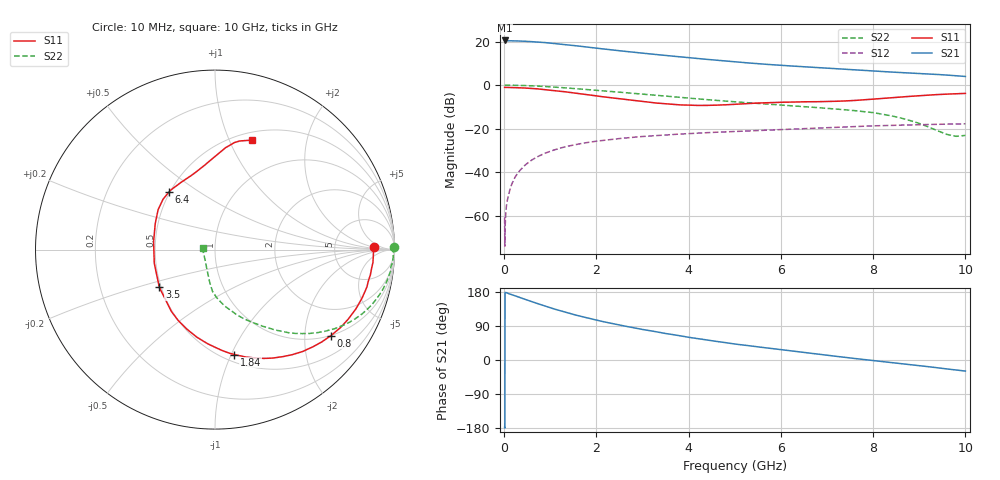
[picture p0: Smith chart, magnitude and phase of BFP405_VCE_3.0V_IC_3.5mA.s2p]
! Infineon Technologies  Discrete & RF Semiconductors
! BFP405
! VCE =  3.0 V,  IC =  3.5 mA
! Common Emitter S-Parameters:  Jan 2016
# GHz  S  MA  R  50
!  f  S11  S21  S12  S22
! GHz  MAG  ANG  MAG  ANG  MAG  ANG  MAG  ANG
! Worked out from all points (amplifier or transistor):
!   233 points, 10 MHz to 10 GHz, reference 50 ohm
!   highest |S21| = 20.5 dB at 10 MHz (marker M1)
!   |S21| within 3 dB of that: start of sweep to 1.781 GHz
!   unconditionally stable (mu >= 1): 14.8 MHz to 15.37 MHz; 3.816 GHz to end of sweep
!   at 200 MHz: K = 0.06, MSG = 32.1 dB, |S12| = -43.9 dB
!   at 1.74 GHz: K = 0.44, MSG = 22.1 dB, |S12| = -26.6 dB
!   at 10 GHz: K = 1.52, MAG = 6.6 dB, |S12| = -17.8 dB
!   S11 on the Smith chart (normalised r, x): 10 MHz: 16, +2; 800 MHz: 1.00, -2.71; 1.84 GHz: 0.57, -1.03; 3.5 GHz: 0.49, -0.24; 6.4 GHz: 0.49, +0.38; 10 GHz: 0.58, +1.22
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0.01  0.8842 1.0  10.59 -177.8  0.0009 -75.6  0.9954 0.8
0.015  0.8838 0.2  10.53 -179.7  0.0002 -61.0  0.9932 0.4
0.02  0.8835 -0.7  10.48 178.4  0.0005 92.0  0.991 0.0
0.05  0.8824 -2.6  10.39 177.7  0.0017 83.4  0.9939 -0.8
0.155  0.8786 -7.0  10.39 173.1  0.005 85.4  0.9918 -3.4
0.5  0.8511 -23.0  10.11 158.2  0.0159 78.4  0.9713 -11.0
0.8  0.8047 -36.5  9.623 145.7  0.0248 72.0  0.9393 -17.3
1  0.7678 -45.0  9.216 137.8  0.0303 67.9  0.9127 -21.2
1.2  0.7271 -53.6  8.788 130.5  0.0353 64.0  0.8831 -24.9
1.4  0.685 -61.9  8.343 123.5  0.0399 60.3  0.852 -28.3
1.68  0.6266 -73.1  7.723 114.5  0.0457 55.8  0.8079 -32.6
1.84  0.5945 -79.5  7.373 109.7  0.0486 53.4  0.7832 -34.8
2.2  0.5298 -93.7  6.671 99.8  0.0547 48.7  0.7298 -39.4
2.6  0.4702 -109.4  5.987 89.8  0.0606 44.1  0.6737 -44.0
3.4  0.3798 -141.4  4.909 72.2  0.0707 36.2  0.5701 -52.2
3.5  0.3747 -145.9  4.801 69.9  0.0719 35.3  0.5578 -53.3
4.1  0.343 -171.3  4.169 58.2  0.0779 30.3  0.4918 -59.1
5.1  0.3666 154.1  3.351 40.8  0.0869 23.2  0.4061 -68.6
6.4  0.4105 128.8  2.675 21.5  0.0989 15.8  0.3262 -79.0
6.8  0.4156 120.8  2.514 15.6  0.103 13.4  0.3035 -82.3
8.4  0.5135 90.7  1.991 -6.9  0.1189 1.7  0.1961 -97.6
10  0.6441 71.3  1.578 -29.2  0.1291 -9.2  0.0699 174.8
